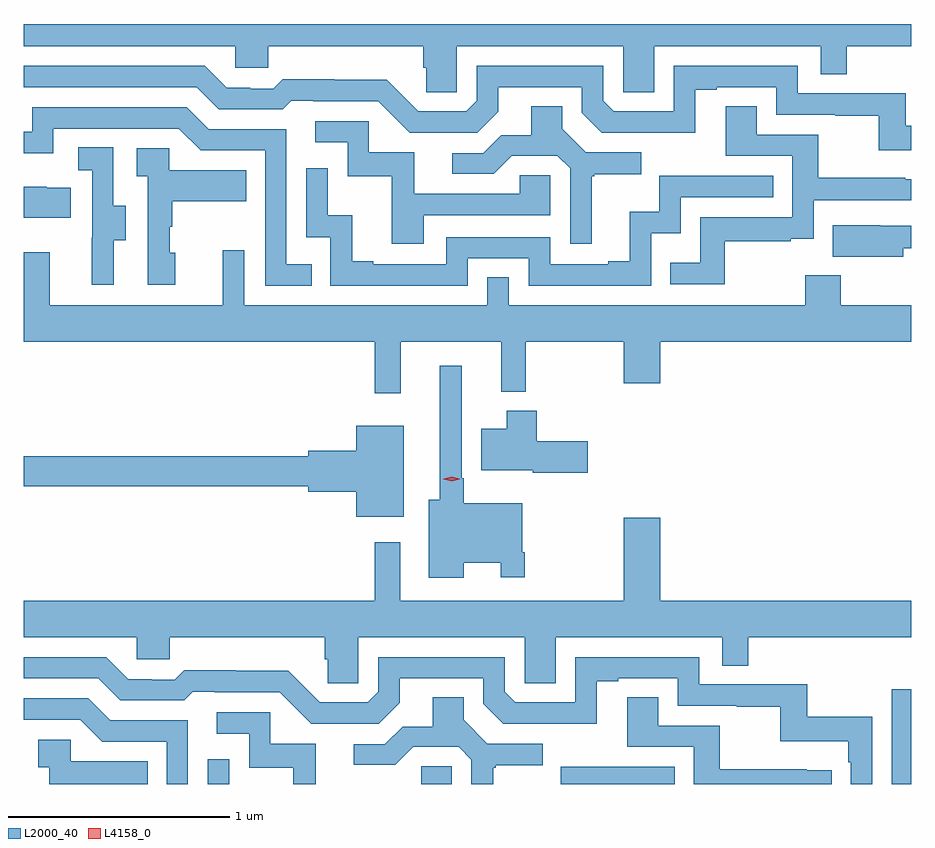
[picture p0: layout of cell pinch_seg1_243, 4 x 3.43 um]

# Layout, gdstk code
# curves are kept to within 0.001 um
import gdstk
lib = gdstk.Library(unit=1e-6, precision=1e-09)
def R(c, l, rs):  # rectangles x0, y0, x1, y1
    for r in rs: c.add(gdstk.rectangle(r[:2], r[2:], *l))
def P(c, l, *ps):  # polygons
    for p in ps: c.add(gdstk.Polygon(p, *l))
L2000_40 = (2000, 40)
L4158_0 = (4158, 0)

pinch_seg1_243 = lib.new_cell('pinch_seg1_243')
R(pinch_seg1_243, L2000_40, [(906.39,580.375,906.486,580.486), (907.351,580.375,907.488,580.455), (907.98,580.375,908.495,580.452), (909.473,580.375,909.56,580.801)])
P(pinch_seg1_243, L2000_40, [(907.512,583.7),(908.262,583.7),(908.262,583.492),(908.401,583.492),(908.401,583.7),(909.153,583.7),(909.153,583.573),(909.269,583.573),(909.269,583.7),(909.56,583.7),(909.56,583.8),(905.56,583.8),(905.56,583.7),(906.513,583.7),(906.513,583.602),(906.663,583.602),(906.663,583.7),(907.361,583.7),(907.361,583.602),(907.375,583.602),(907.375,583.492),(907.512,583.492)],
  [(909.56,583.342),(909.535,583.342),(909.535,583.488),(909.048,583.488),(909.048,583.611),(908.49,583.611),(908.49,583.407),(908.22,583.407),(908.172,583.455),(908.172,583.611),(907.602,583.611),(907.602,583.455),(907.554,583.407),(907.338,583.407),(907.196,583.549),(906.96,583.549),(906.96,583.552),(906.727,583.552),(906.685,583.509),(906.582,583.509),(906.582,583.512),(906.475,583.512),(906.376,583.611),(905.56,583.611),(905.56,583.515),(906.339,583.515),(906.438,583.416),(906.727,583.416),(906.766,583.455),(906.865,583.455),(906.865,583.452),(907.158,583.452),(907.299,583.311),(907.605,583.311),(907.699,583.405),(907.699,583.515),(908.076,583.515),(908.076,583.401),(908.166,583.311),(908.587,583.31),(908.587,583.503),(908.683,583.503),(908.683,583.515),(908.952,583.515),(908.952,583.392),(909.217,583.392),(909.217,583.387),(909.414,583.387),(909.414,583.232),(909.56,583.232)],
  [(908.719,582.822),(909.017,582.822),(909.017,582.833),(909.12,582.833),(909.12,583.005),(909.56,583.005),(909.56,583.101),(909.533,583.101),(909.533,583.106),(909.14,583.106),(909.14,583.302),(908.863,583.302),(908.863,583.43),(908.723,583.43),(908.723,583.206),(909.024,583.206),(909.024,582.93),(908.608,582.93),(908.608,582.724),(908.473,582.724),(908.473,582.627),(908.719,582.627)],
  [(908.119,583.113),(908.131,583.113),(908.131,583.124),(908.344,583.124),(908.344,583.221),(908.094,583.221),(907.987,583.328),(907.987,583.43),(907.847,583.43),(907.847,583.298),(907.712,583.298),(907.632,583.218),(907.491,583.218),(907.491,583.125),(907.678,583.125),(907.759,583.206),(907.965,583.206),(908.022,583.149),(908.022,582.81),(908.119,582.81)],
  [(906.857,582.717),(906.744,582.717),(906.744,583.326),(906.394,583.326),(906.295,583.425),(905.598,583.425),(905.598,583.314),(905.56,583.314),(905.56,583.217),(905.694,583.217),(905.694,583.329),(906.258,583.329),(906.357,583.23),(906.648,583.23),(906.648,582.621),(906.857,582.621)],
  [(907.363,582.939),(907.932,582.939),(907.932,583.119),(907.795,583.119),(907.795,583.035),(907.321,583.035),(907.321,583.221),(907.116,583.221),(907.116,583.362),(906.873,583.362),(906.873,583.266),(907.02,583.266),(907.02,583.113),(907.219,583.113),(907.219,582.81),(907.363,582.81)],
  [(905.965,582.826),(906.019,582.826),(906.019,582.981),(905.964,582.981),(905.964,583.244),(905.805,583.244),(905.805,583.141),(905.868,583.141),(905.868,582.837),(905.867,582.837),(905.867,582.624),(905.965,582.624)],
  [(906.244,582.768),(906.219,582.768),(906.219,582.887),(906.229,582.887),(906.229,583.001),(906.563,583.001),(906.563,583.141),(906.216,583.141),(906.216,583.239),(906.069,583.239),(906.069,583.115),(906.12,583.115),(906.12,582.624),(906.244,582.624)],
  [(907.56,582.744),(907.836,582.744),(907.836,582.621),(908.388,582.621),(908.388,582.857),(908.52,582.857),(908.52,583.02),(908.939,583.02),(908.939,583.116),(908.424,583.116),(908.424,582.955),(908.291,582.955),(908.291,582.73),(908.195,582.73),(908.195,582.717),(907.932,582.717),(907.932,582.84),(907.464,582.84),(907.464,582.717),(907.135,582.717),(907.135,582.73),(907.04,582.73),(907.04,582.938),(906.93,582.938),(906.93,583.15),(906.834,583.15),(906.834,582.84),(906.942,582.84),(906.942,582.621),(907.56,582.621)],
  [(905.771,583.063),(905.663,583.063),(905.663,583.066),(905.56,583.066),(905.56,582.926),(905.771,582.926)],
  [(909.523,582.79),(909.56,582.79),(909.56,582.891),(909.419,582.891),(909.419,582.892),(909.205,582.892),(909.205,582.752),(909.523,582.752)],
  [(907.259,582.368),(907.712,582.368),(907.712,582.143),(907.822,582.143),(907.822,582.368),(908.264,582.368),(908.264,582.18),(908.428,582.18),(908.428,582.368),(909.56,582.368),(909.56,582.532),(909.242,582.532),(909.242,582.667),(909.082,582.667),(909.082,582.532),(907.746,582.532),(907.746,582.659),(907.65,582.659),(907.65,582.532),(906.555,582.532),(906.555,582.781),(906.458,582.781),(906.458,582.532),(905.677,582.532),(905.677,582.772),(905.56,582.772),(905.56,582.368),(907.141,582.368),(907.141,582.135),(907.259,582.135)],
  [(907.543,581.372),(907.709,581.372),(907.709,581.307),(907.819,581.307),(907.819,581.419),(907.806,581.419),(907.806,581.641),(907.543,581.641),(907.543,581.752),(907.533,581.752),(907.533,582.259),(907.436,582.259),(907.436,581.656),(907.385,581.656),(907.385,581.304),(907.543,581.304)],
  [(908.101,581.919),(907.871,581.919),(907.871,582.058),(907.736,582.058),(907.736,581.977),(907.622,581.977),(907.622,581.789),(907.854,581.789),(907.854,581.777),(908.101,581.777)],
  [(907.273,581.989),(907.058,581.989),(907.058,581.876),(906.842,581.876),(906.842,581.852),(905.56,581.852),(905.56,581.716),(906.842,581.716),(906.842,581.693),(907.058,581.693),(907.058,581.579),(907.273,581.579)],
  [(907.068,581.036),(907.818,581.036),(907.818,580.828),(907.957,580.828),(907.957,581.036),(908.709,581.036),(908.709,580.909),(908.825,580.909),(908.825,581.036),(909.56,581.036),(909.56,581.2),(908.428,581.2),(908.428,581.575),(908.264,581.575),(908.264,581.2),(907.257,581.2),(907.257,581.464),(907.141,581.464),(907.141,581.2),(905.56,581.2),(905.56,581.036),(906.069,581.036),(906.069,580.938),(906.219,580.938),(906.219,581.036),(906.917,581.036),(906.917,580.938),(906.931,580.938),(906.931,580.828),(907.068,580.828)],
  [(909.384,580.678),(909.091,580.678),(909.091,580.824),(908.604,580.824),(908.604,580.947),(908.046,580.947),(908.046,580.743),(907.776,580.743),(907.728,580.791),(907.728,580.947),(907.158,580.947),(907.158,580.791),(907.11,580.743),(906.894,580.743),(906.752,580.885),(906.516,580.885),(906.516,580.888),(906.283,580.888),(906.241,580.845),(906.138,580.845),(906.138,580.848),(906.031,580.848),(905.932,580.947),(905.56,580.947),(905.56,580.851),(905.895,580.851),(905.994,580.752),(906.283,580.752),(906.322,580.791),(906.421,580.791),(906.421,580.788),(906.714,580.788),(906.855,580.647),(907.161,580.647),(907.255,580.741),(907.255,580.851),(907.632,580.851),(907.632,580.737),(907.722,580.647),(908.143,580.646),(908.143,580.839),(908.239,580.839),(908.239,580.851),(908.508,580.851),(908.508,580.728),(908.773,580.728),(908.773,580.723),(908.97,580.723),(908.97,580.568),(909.275,580.568),(909.275,580.472),(909.288,580.472),(909.288,580.375),(909.384,580.375)],
  [(907.675,580.449),(907.687,580.449),(907.687,580.46),(907.9,580.46),(907.9,580.557),(907.65,580.557),(907.543,580.664),(907.543,580.766),(907.403,580.766),(907.403,580.634),(907.268,580.634),(907.188,580.554),(907.047,580.554),(907.047,580.461),(907.234,580.461),(907.315,580.542),(907.521,580.542),(907.578,580.485),(907.578,580.375),(907.675,580.375)],
  [(909.202,580.437),(909.089,580.437),(909.089,580.442),(908.696,580.442),(908.696,580.638),(908.419,580.638),(908.419,580.766),(908.279,580.766),(908.279,580.542),(908.58,580.542),(908.58,580.375),(909.202,580.375)],
  [(906.3,580.662),(905.95,580.662),(905.851,580.761),(905.56,580.761),(905.56,580.665),(905.814,580.665),(905.913,580.566),(906.204,580.566),(906.204,580.375),(906.3,580.375)],
  [(906.877,580.557),(906.672,580.557),(906.672,580.698),(906.429,580.698),(906.429,580.602),(906.576,580.602),(906.576,580.449),(906.775,580.449),(906.775,580.375),(906.877,580.375)],
  [(906.119,580.477),(905.772,580.477),(905.772,580.575),(905.625,580.575),(905.625,580.451),(905.676,580.451),(905.676,580.375),(906.119,580.375)])
P(pinch_seg1_243, L4158_0, [(907.488,581.739),(907.452,581.749),(907.451,581.749),(907.452,581.75),(907.488,581.759),(907.524,581.75),(907.524,581.749),(907.524,581.749)])

lib.write_gds('pinch_seg1_243.gds')
